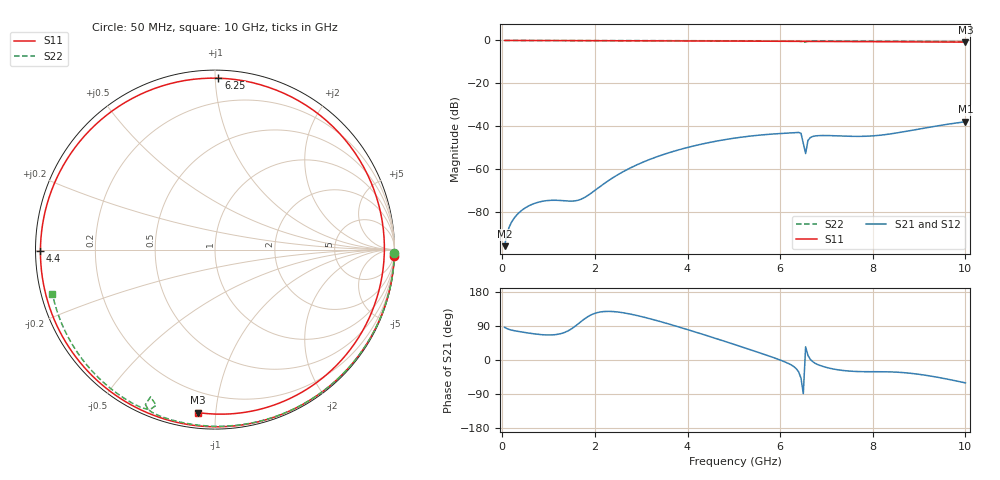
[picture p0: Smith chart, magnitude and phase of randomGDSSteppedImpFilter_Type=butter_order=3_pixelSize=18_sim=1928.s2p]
! freq	dB(S11)	phase(S11)	dB(S12)	phase(S12)
!  dB(S21)	phase(S21)	dB(S22)	phase(S22)
!S-par simulation data
#  GHz  S  DB  R 50
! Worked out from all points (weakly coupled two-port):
!   200 points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, 50 MHz to 10 GHz, reference 50 ohm
!   highest |S21| = -37.98 dB at 10 GHz (marker M1); lowest = -96.1 dB at 50 MHz (marker M2)
!   lowest |S11| = -0.8 dB at 10 GHz (marker M3), VSWR 21.94, Z = 4.12 - j44.8 ohm
!   |S11| at or under -10 dB: nowhere
!   |S22| runs from -1.0 to 0.0 dB; largest |S21 - S12| = 0
!   S11 on the Smith chart (normalised r, x): 50 MHz: 0, -53; 4.4 GHz: 0.01, -0.00; 6.25 GHz: 0.05, +1.02; 10 GHz: 0.08, -0.90
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0.05  -0.00 -2.1  -96.13 86.1  -96.13 86.1  -0.00 -1.0
0.4  -0.02 -17.0  -79.74 74.3  -79.74 74.3  -0.01 -7.7
0.8  -0.04 -33.8  -75.46 67.4  -75.46 67.4  -0.02 -15.3
1.3  -0.07 -54.5  -74.85 70.8  -74.85 70.8  -0.03 -24.7
1.75  -0.09 -72.7  -73.70 106.2  -73.70 106.2  -0.04 -33.1
2.55  -0.13 -104.5  -62.04 125.8  -62.04 125.8  -0.06 -47.6
3.4  -0.17 -138.2  -53.88 101.9  -53.88 101.9  -0.08 -62.6
3.9  -0.21 -158.4  -50.57 84.0  -50.57 84.0  -0.10 -71.1
4.4  -0.24 -179.6  -48.00 65.0  -48.00 65.0  -0.11 -79.5
5.05  -0.30 151.0  -45.53 39.5  -45.53 39.5  -0.14 -90.1
5.7  -0.35 118.6  -43.95 13.0  -43.95 13.0  -0.17 -100.5
6.25  -0.40 88.8  -43.17 -13.8  -43.17 -13.8  -0.22 -109.5
6.45  -0.41 77.6  -43.35 -47.9  -43.35 -47.9  -0.48 -114.2
6.55  -0.43 71.9  -52.84 34.8  -52.84 34.8  -0.66 -110.7
6.6  -0.43 69.1  -46.74 12.2  -46.74 12.2  -0.38 -111.9
6.7  -0.43 63.3  -44.90 -4.1  -44.90 -4.1  -0.27 -114.3
7.15  -0.46 37.5  -44.51 -23.8  -44.51 -23.8  -0.26 -121.8
7.55  -0.49 15.0  -44.80 -29.7  -44.80 -29.7  -0.29 -127.9
7.95  -0.51 -6.5  -44.66 -30.9  -44.66 -30.9  -0.32 -133.9
8.35  -0.55 -26.7  -43.77 -31.3  -43.77 -31.3  -0.36 -139.8
9.15  -0.64 -62.9  -40.81 -40.4  -40.81 -40.4  -0.44 -151.8
10  -0.79 -96.1  -37.98 -60.4  -37.98 -60.4  -0.55 -164.7
